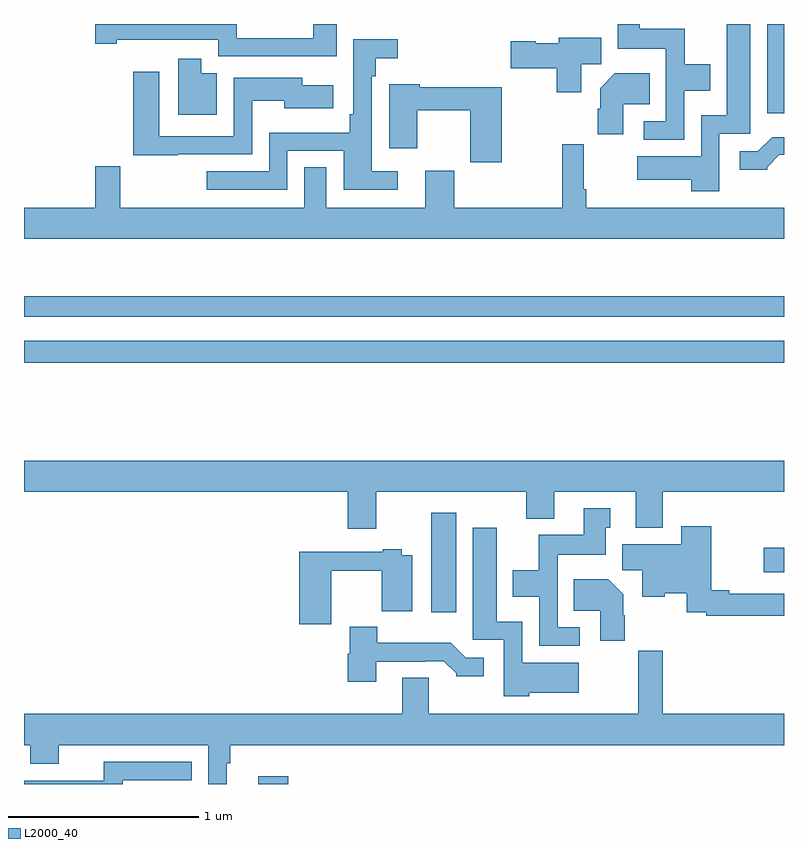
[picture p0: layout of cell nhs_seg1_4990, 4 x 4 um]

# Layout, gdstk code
import gdstk
lib = gdstk.Library(unit=1e-6, precision=1e-09)
def R(c, l, rs):  # rectangles x0, y0, x1, y1
    for r in rs: c.add(gdstk.rectangle(r[:2], r[2:], *l))
def P(c, l, *ps):  # polygons
    for p in ps: c.add(gdstk.Polygon(p, *l))
L2000_40 = (2000, 40)

nhs_seg1_4990 = lib.new_cell('nhs_seg1_4990')
R(nhs_seg1_4990, L2000_40, [(382.232,546.199,382.391,546.241), (383.144,547.104,383.275,547.627), (384.894,547.313,385,547.443), (381,548.416,385,548.532), (381,548.658,385,548.767), (384.911,549.729,385,550.199), (383.147,550.197,383.26,550.199)])
P(nhs_seg1_4990, L2000_40, [(384.474,549.848),(384.613,549.848),(384.613,549.988),(384.477,549.988),(384.477,550.174),(384.241,550.174),(384.241,550.199),(384.125,550.199),(384.125,550.07),(384.378,550.07),(384.378,549.687),(384.261,549.687),(384.261,549.591),(384.474,549.591)],
  [(384.66,549.621),(384.823,549.621),(384.823,550.199),(384.698,550.199),(384.698,549.718),(384.564,549.718),(384.564,549.502),(384.228,549.502),(384.228,549.38),(384.512,549.38),(384.512,549.318),(384.66,549.318)],
  [(382.645,550.199),(382.523,550.199),(382.523,550.125),(382.119,550.125),(382.119,550.199),(381.375,550.199),(381.375,550.096),(381.487,550.096),(381.487,550.115),(381.716,550.115),(381.716,550.116),(382.023,550.116),(382.023,550.029),(382.645,550.029)],
  [(383.932,549.988),(384.037,549.988),(384.037,550.126),(383.814,550.126),(383.814,550.099),(383.694,550.099),(383.694,550.107),(383.562,550.107),(383.562,549.965),(383.803,549.965),(383.803,549.84),(383.932,549.84)],
  [(382.386,549.531),(382.682,549.531),(382.682,549.327),(382.966,549.327),(382.966,549.423),(382.83,549.423),(382.83,549.923),(382.85,549.923),(382.85,550.019),(382.966,550.019),(382.966,550.12),(382.734,550.12),(382.734,549.724),(382.714,549.724),(382.714,549.627),(382.29,549.627),(382.29,549.423),(381.963,549.423),(381.963,549.327),(382.386,549.327)],
  [(382.015,549.94),(381.934,549.94),(381.934,550.015),(381.812,550.015),(381.812,549.722),(382.015,549.722)],
  [(381.808,549.513),(382.2,549.513),(382.2,549.794),(382.371,549.794),(382.371,549.755),(382.627,549.755),(382.627,549.876),(382.465,549.876),(382.465,549.916),(382.104,549.916),(382.104,549.609),(381.712,549.609),(381.712,549.949),(381.575,549.949),(381.575,549.508),(381.808,549.508)],
  [(384.154,549.776),(384.293,549.776),(384.293,549.94),(384.11,549.94),(384.032,549.862),(384.032,549.752),(384.02,549.752),(384.02,549.618),(384.154,549.618)],
  [(383.514,549.865),(383.084,549.865),(383.084,549.883),(382.922,549.883),(382.922,549.546),(383.071,549.546),(383.071,549.744),(383.348,549.744),(383.348,549.471),(383.514,549.471)],
  [(384.912,549.446),(384.976,549.51),(385,549.51),(385,549.604),(384.937,549.604),(384.861,549.528),(384.768,549.528),(384.768,549.431),(384.912,549.431)],
  [(385,549.232),(383.96,549.232),(383.96,549.328),(383.945,549.328),(383.945,549.565),(383.832,549.565),(383.832,549.232),(383.264,549.232),(383.264,549.427),(383.111,549.427),(383.111,549.232),(382.591,549.232),(382.591,549.446),(382.475,549.446),(382.475,549.232),(381.507,549.232),(381.507,549.451),(381.376,549.451),(381.376,549.232),(381,549.232),(381,549.068),(385,549.068)],
  [(382.855,547.736),(383.644,547.736),(383.644,547.595),(383.791,547.595),(383.791,547.736),(384.221,547.736),(384.221,547.547),(384.361,547.547),(384.361,547.736),(385,547.736),(385,547.9),(381,547.9),(381,547.736),(382.703,547.736),(382.703,547.542),(382.855,547.542)],
  [(383.926,547.023),(383.808,547.023),(383.808,547.406),(384.061,547.406),(384.061,547.548),(384.085,547.548),(384.085,547.651),(383.945,547.651),(383.945,547.51),(383.71,547.51),(383.71,547.324),(383.573,547.324),(383.573,547.184),(383.712,547.184),(383.712,546.927),(383.926,546.927)],
  [(385,547.2),(384.712,547.2),(384.712,547.22),(384.616,547.22),(384.616,547.555),(384.458,547.555),(384.458,547.462),(384.149,547.462),(384.149,547.324),(384.254,547.324),(384.254,547.184),(384.372,547.184),(384.372,547.202),(384.488,547.202),(384.488,547.104),(384.592,547.104),(384.592,547.084),(385,547.084)],
  [(383.658,546.68),(383.92,546.68),(383.92,546.838),(383.622,546.838),(383.622,547.054),(383.488,547.054),(383.488,547.549),(383.363,547.549),(383.363,546.957),(383.526,546.957),(383.526,546.662),(383.658,546.662)],
  [(382.618,547.321),(382.882,547.321),(382.882,547.109),(383.044,547.109),(383.044,547.402),(382.989,547.402),(382.989,547.435),(382.889,547.435),(382.889,547.422),(382.448,547.422),(382.448,547.041),(382.618,547.041)],
  [(384.162,547.088),(384.154,547.088),(384.154,547.198),(384.076,547.276),(383.893,547.276),(383.893,547.112),(384.032,547.112),(384.032,546.954),(384.162,546.954)],
  [(382.855,546.843),(383.111,546.843),(383.111,546.846),(383.21,546.846),(383.274,546.782),(383.274,546.767),(383.419,546.767),(383.419,546.864),(383.325,546.864),(383.247,546.943),(382.858,546.943),(382.858,547.027),(382.715,547.027),(382.715,546.885),(382.703,546.885),(382.703,546.738),(382.855,546.738)],
  [(382.066,546.308),(382.085,546.308),(382.085,546.404),(385,546.404),(385,546.568),(384.362,546.568),(384.362,546.901),(384.234,546.901),(384.234,546.568),(383.131,546.568),(383.131,546.758),(382.991,546.758),(382.991,546.568),(381,546.568),(381,546.404),(381.032,546.404),(381.032,546.305),(381.184,546.305),(381.184,546.404),(381.969,546.404),(381.969,546.199),(382.066,546.199)],
  [(381.52,546.219),(381.884,546.219),(381.884,546.315),(381.421,546.315),(381.421,546.216),(381,546.216),(381,546.199),(381.52,546.199)])

lib.write_gds('nhs_seg1_4990.gds')
